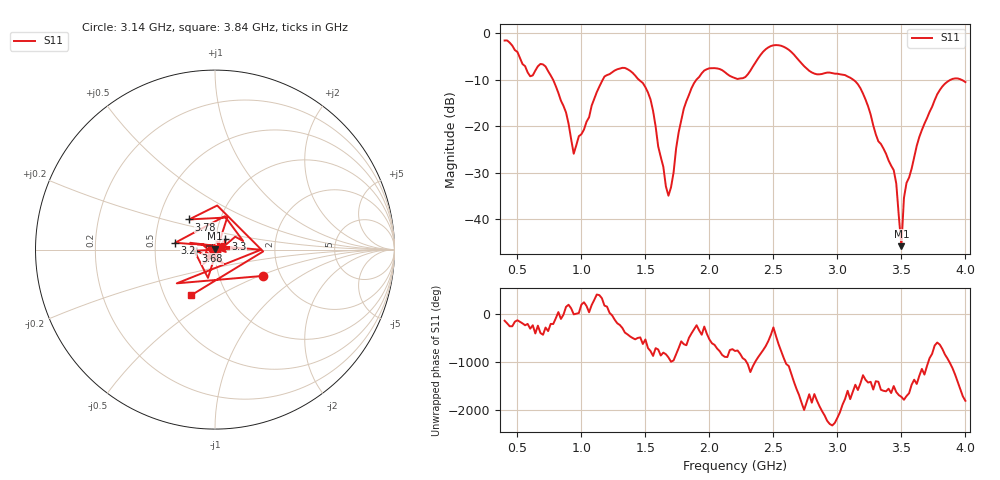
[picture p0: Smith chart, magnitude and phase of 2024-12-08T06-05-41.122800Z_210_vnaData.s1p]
!Created with skrf (http://scikit-rf.org).
# Hz S RI R 50.0
!freq ReS11 ImS11
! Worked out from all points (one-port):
!   181 points, 400 MHz to 4 GHz, reference 50 ohm
!   lowest |S11| = -45.8 dB at 3.5 GHz (marker M1), VSWR 1.01, Z = 50.1 + j0.503 ohm
!   |S11| at or under -10 dB: 779.6 MHz to 1.166 GHz (386.6 MHz wide, 39.7 % of centre); 1.451 GHz to 1.898 GHz (447 MHz wide, 26.7 % of centre); 3.125 GHz to 3.882 GHz (756.9 MHz wide, 21.6 % of centre) (the widest 3 of 4)
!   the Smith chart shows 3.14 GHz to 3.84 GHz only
!   S11 on the Smith chart (normalised r, x): 3.14 GHz: 1.63, -0.53; 3.2 GHz: 0.64, +0.05; 3.3 GHz: 1.12, +0.13; 3.68 GHz: 0.81, -0.01; 3.78 GHz: 0.71, +0.25; 3.84 GHz: 0.68, -0.38
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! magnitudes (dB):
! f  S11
! 400 MHz  -1.5
! 600 MHz  -9.2
! 720 MHz  -7.1
! 860 MHz  -15.6
! 940 MHz  -25.9
! 1.18 GHz  -9.3
! 1.3 GHz  -7.6
! 1.52 GHz  -12.7
! 1.68 GHz  -34.9
! 1.76 GHz  -21.3
! 1.86 GHz  -11.8
! 1.96 GHz  -8.0
! 2.2 GHz  -9.6
! 2.48 GHz  -2.7
! 2.66 GHz  -4.5
! 3.1 GHz  -9.5
! 3.14 GHz  -10.3
! 3.2 GHz  -13.0
! 3.3 GHz  -21.7
! 3.44 GHz  -29.4
! 3.46 GHz  -32.3
! 3.5 GHz  -45.8
! 3.52 GHz  -35.4
! 3.56 GHz  -31.0
! 3.68 GHz  -19.4
! 3.78 GHz  -13.1
! 3.84 GHz  -10.8
! 4 GHz  -10.5
